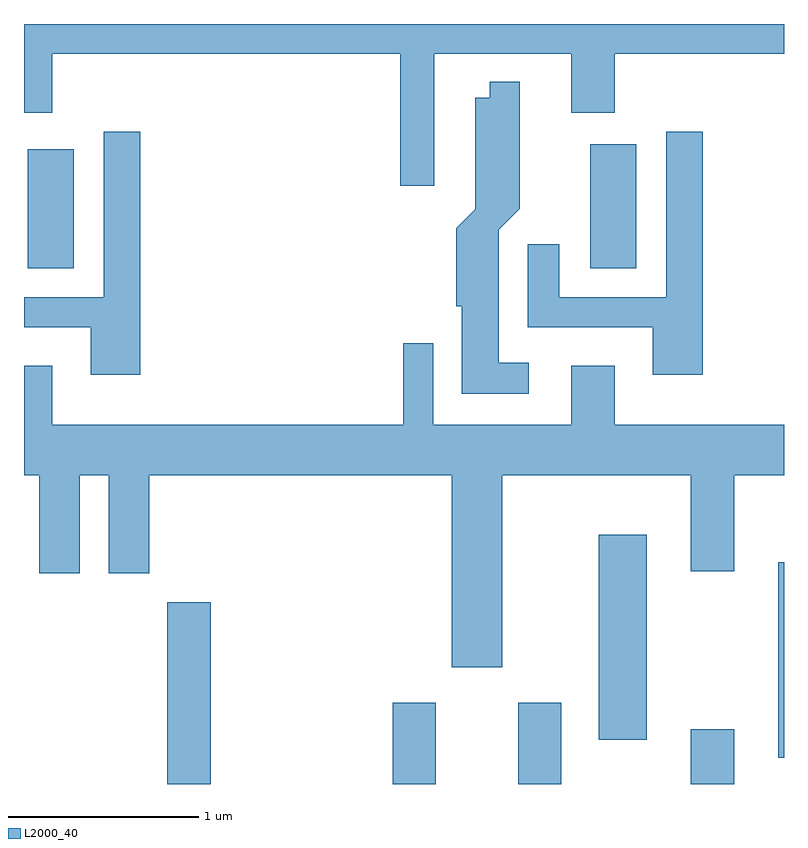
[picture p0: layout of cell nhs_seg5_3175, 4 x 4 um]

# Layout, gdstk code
import gdstk
lib = gdstk.Library(unit=1e-6, precision=1e-09)
def R(c, l, rs):  # rectangles x0, y0, x1, y1
    for r in rs: c.add(gdstk.rectangle(r[:2], r[2:], *l))
def P(c, l, *ps):  # polygons
    for p in ps: c.add(gdstk.Polygon(p, *l))
L2000_40 = (2000, 40)

nhs_seg5_3175 = lib.new_cell('nhs_seg5_3175')
R(nhs_seg5_3175, L2000_40, [(280.366,1444.072,280.594,1445.029), (281.551,1444.072,281.779,1444.499), (282.211,1444.072,282.439,1444.499), (283.121,1444.072,283.349,1444.359), (283.581,1444.211,283.611,1445.239), (282.636,1444.306,282.889,1445.384), (279.631,1446.786,279.874,1447.414), (282.591,1446.786,282.834,1447.439)])
P(nhs_seg5_3175, L2000_40, [(281.769,1447.916),(282.491,1447.916),(282.491,1447.606),(282.719,1447.606),(282.719,1447.916),(283.611,1447.916),(283.611,1448.072),(279.611,1448.072),(279.611,1447.606),(279.759,1447.606),(279.759,1447.916),(281.591,1447.916),(281.591,1447.221),(281.769,1447.221)],
  [(282.268,1446.289),(282.109,1446.289),(282.109,1446.989),(282.219,1447.099),(282.219,1447.768),(282.061,1447.768),(282.061,1447.684),(281.986,1447.684),(281.986,1447.097),(281.886,1446.997),(281.886,1446.586),(281.916,1446.586),(281.916,1446.126),(282.268,1446.126)],
  [(280.224,1447.504),(280.031,1447.504),(280.031,1446.634),(279.611,1446.634),(279.611,1446.476),(279.961,1446.476),(279.961,1446.226),(280.224,1446.226)],
  [(283.184,1447.504),(282.991,1447.504),(282.991,1446.634),(282.429,1446.634),(282.429,1446.913),(282.261,1446.913),(282.261,1446.476),(282.921,1446.476),(282.921,1446.226),(283.184,1446.226)],
  [(282.129,1445.696),(283.121,1445.696),(283.121,1445.191),(283.349,1445.191),(283.349,1445.696),(283.611,1445.696),(283.611,1445.964),(282.719,1445.964),(282.719,1446.274),(282.491,1446.274),(282.491,1445.964),(281.764,1445.964),(281.764,1446.393),(281.606,1446.393),(281.606,1445.964),(279.759,1445.964),(279.759,1446.274),(279.611,1446.274),(279.611,1445.696),(279.691,1445.696),(279.691,1445.181),(279.904,1445.181),(279.904,1445.696),(280.056,1445.696),(280.056,1445.181),(280.269,1445.181),(280.269,1445.696),(281.861,1445.696),(281.861,1444.686),(282.129,1444.686)])

lib.write_gds('nhs_seg5_3175.gds')
